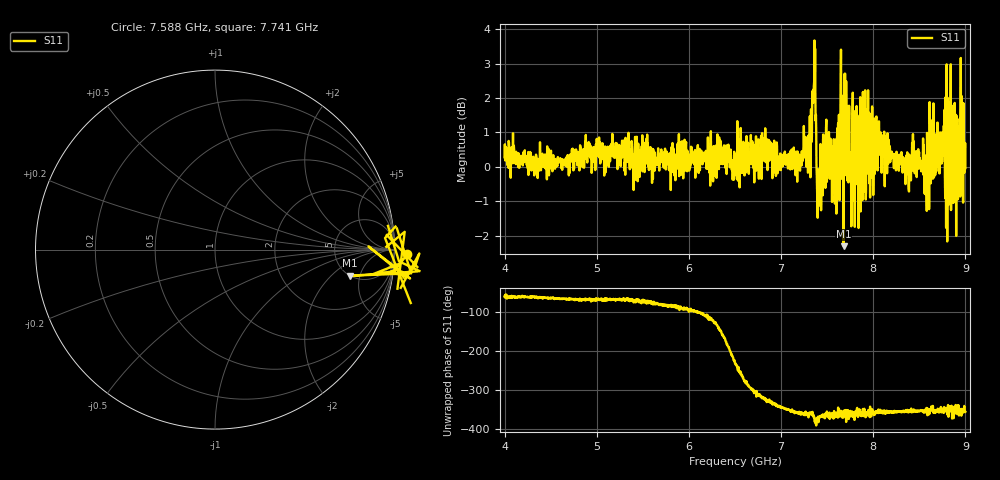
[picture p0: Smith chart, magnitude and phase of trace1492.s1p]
! Created with skrf 1.8.0 (http://scikit-rf.org).
# Hz S RI R 50.0
!freq ReS11 ImS11
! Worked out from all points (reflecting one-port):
!   1601 points, 4 GHz to 9 GHz, reference 50 ohm
!   lowest |S11| = -2.3 dB at 7.678 GHz (marker M1), VSWR 7.58, Z = 250 - j177 ohm
!   phase of S11 starts at -61 deg and turns -296 deg over the sweep
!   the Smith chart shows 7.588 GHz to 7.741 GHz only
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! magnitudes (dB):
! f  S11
! 4 GHz  0.3
! 4.625 GHz  -0.1
! 5.25 GHz  0.2
! 5.875 GHz  0.6
! 6.331 GHz  0.3
! 6.5 GHz  -0.1
! 6.806 GHz  0.3
! 7.125 GHz  0.4
! 7.294 GHz  -0.2
! 7.356 GHz  2.4
! 7.409 GHz  -1.1
! 7.512 GHz  0.9
! 7.575 GHz  0.2
! 7.631 GHz  0.3
! 7.678 GHz  -2.3
! 7.75 GHz  -0.4
! 7.775 GHz  1.4
! 7.8 GHz  -1.7
! 7.841 GHz  -1.8
! 7.928 GHz  0.9
! 7.981 GHz  -0.3
! 8.056 GHz  0.4
! 8.375 GHz  -0.1
! 8.581 GHz  -1.3
! 8.75 GHz  0.6
! 8.919 GHz  -0.9
! 8.959 GHz  2.1
! 9 GHz  0.0
